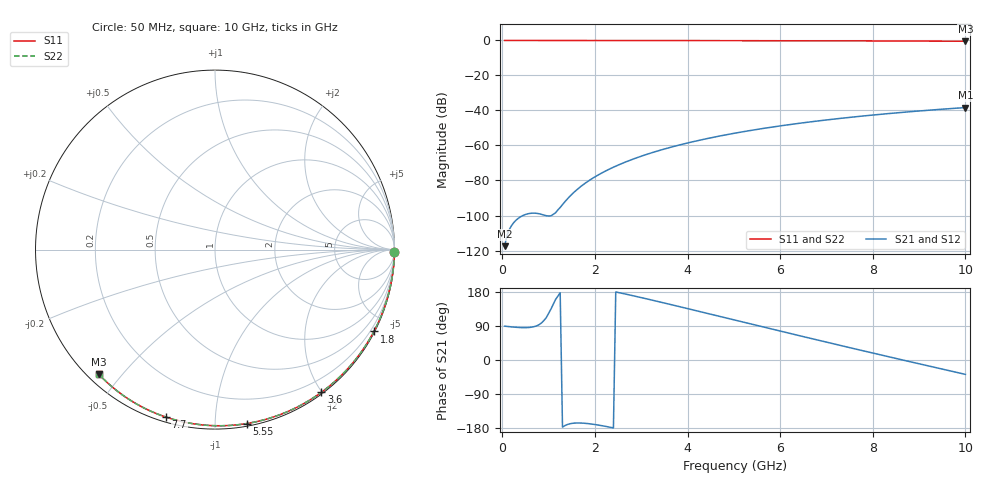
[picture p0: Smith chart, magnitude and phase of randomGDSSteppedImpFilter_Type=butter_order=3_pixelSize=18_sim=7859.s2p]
! freq	dB(S11)	phase(S11)	dB(S12)	phase(S12)
!  dB(S21)	phase(S21)	dB(S22)	phase(S22)
!S-par simulation data
#  GHz  S  DB  R 50
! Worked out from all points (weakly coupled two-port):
!   200 points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, 50 MHz to 10 GHz, reference 50 ohm
!   highest |S21| = -38.33 dB at 10 GHz (marker M1); lowest = -117.5 dB at 50 MHz (marker M2)
!   lowest |S11| = -0.5 dB at 10 GHz (marker M3), VSWR 38.51, Z = 1.54 - j21.7 ohm
!   |S11| at or under -10 dB: nowhere
!   |S22| runs from -0.5 to 0.0 dB; largest |S21 - S12| = 0
!   S11 on the Smith chart (normalised r, x): 50 MHz: open; 1.8 GHz: 0.04, -4.13; 3.6 GHz: 0.02, -1.99; 5.55 GHz: 0.02, -1.20; 7.7 GHz: 0.02, -0.75; 10 GHz: 0.03, -0.43
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0.05  -0.00 -0.8  -117.52 89.3  -117.52 89.3  -0.00 -0.8
0.9  -0.02 -13.8  -99.76 104.4  -99.76 104.4  -0.02 -13.8
1.75  -0.03 -26.5  -82.31 -166.7  -82.31 -166.7  -0.03 -26.5
1.8  -0.03 -27.3  -81.35 -167.2  -81.35 -167.2  -0.03 -27.3
1.85  -0.04 -28.0  -80.44 -167.8  -80.44 -167.8  -0.04 -28.0
1.9  -0.04 -28.7  -79.57 -168.5  -79.57 -168.5  -0.04 -28.7
2.05  -0.04 -31.0  -77.14 -171.2  -77.14 -171.2  -0.04 -31.0
2.25  -0.04 -33.9  -74.30 -175.6  -74.30 -175.6  -0.04 -33.9
2.45  -0.05 -36.8  -71.79 179.5  -71.79 179.5  -0.05 -36.8
2.65  -0.05 -39.7  -69.55 174.3  -69.55 174.3  -0.05 -39.7
3  -0.06 -44.8  -66.12 164.7  -66.12 164.7  -0.06 -44.8
3.4  -0.07 -50.5  -62.76 153.3  -62.76 153.3  -0.07 -50.5
3.6  -0.07 -53.3  -61.27 147.4  -61.27 147.4  -0.07 -53.3
4.3  -0.09 -63.0  -56.75 126.8  -56.75 126.8  -0.09 -63.0
5.05  -0.11 -73.0  -52.83 104.5  -52.83 104.5  -0.11 -73.0
5.55  -0.13 -79.6  -50.61 89.7  -50.61 89.7  -0.13 -79.6
6.1  -0.15 -86.6  -48.44 73.4  -48.44 73.4  -0.15 -86.6
6.7  -0.18 -94.1  -46.35 55.9  -46.35 55.9  -0.18 -94.1
7.7  -0.24 -106.3  -43.39 26.9  -43.39 26.9  -0.24 -106.3
8.35  -0.29 -114.0  -41.74 8.4  -41.74 8.4  -0.29 -114.0
9.15  -0.36 -123.3  -39.96 -14.2  -39.96 -14.2  -0.36 -123.3
10  -0.45 -133.1  -38.33 -37.9  -38.33 -37.9  -0.45 -133.1
